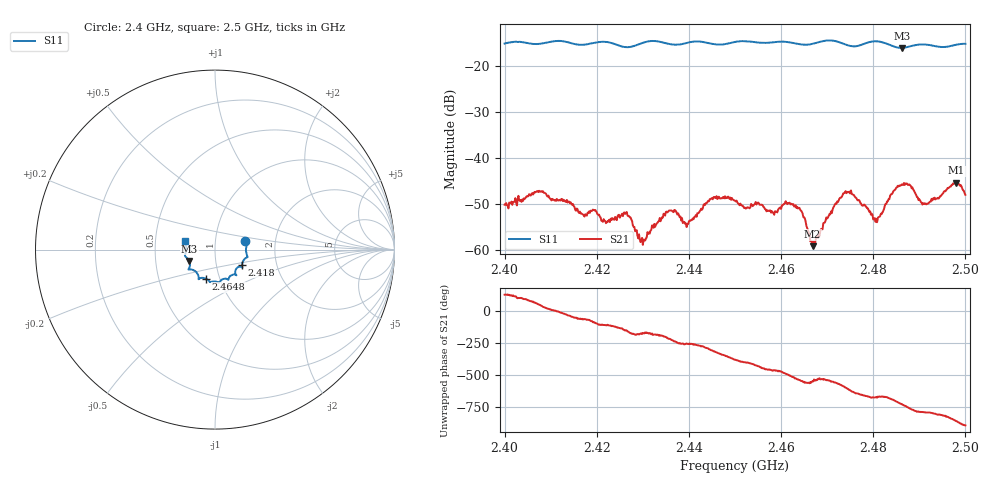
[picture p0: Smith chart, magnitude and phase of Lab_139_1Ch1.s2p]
# Hz S RI R 50
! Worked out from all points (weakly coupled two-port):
!   601 points, 2.4 GHz to 2.5 GHz, reference 50 ohm
!   highest |S21| = -45.40 dB at 2.498 GHz (marker M1); lowest = -59.2 dB at 2.4668 GHz (marker M2)
!   lowest |S11| = -16.1 dB at 2.4862 GHz (marker M3), VSWR 1.37, Z = 37.2 - j4.81 ohm
!   |S11| at or under -10 dB: start of sweep to end of sweep
!   S12 and S22 are empty: the file has one direction only
!   S11 on the Smith chart (normalised r, x): 2.4 GHz: 1.40, +0.13; 2.418 GHz: 1.33, -0.23; 2.4648 GHz: 0.86, -0.29; 2.5 GHz: 0.71, +0.07
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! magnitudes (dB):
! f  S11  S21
! 2.4 GHz  -15.2  -50.2
! 2.408 GHz  -15.2  -47.3
! 2.4167 GHz  -15.4  -52.1
! 2.418 GHz  -15.3  -52.0
! 2.4263 GHz  -15.9  -52.0
! 2.43 GHz  -15.0  -58.9
! 2.4333 GHz  -14.7  -53.9
! 2.4365 GHz  -15.4  -51.7
! 2.4397 GHz  -15.0  -54.5
! 2.445 GHz  -15.2  -48.8
! 2.45 GHz  -14.8  -49.3
! 2.4613 GHz  -14.8  -50.1
! 2.4648 GHz  -15.4  -52.9
! 2.4667 GHz  -15.3  -58.2
! 2.4668 GHz  -15.2  -59.2
! 2.4738 GHz  -15.3  -47.5
! 2.4805 GHz  -14.7  -53.9
! 2.4833 GHz  -15.3  -49.0
! 2.4862 GHz  -16.1  -45.8
! 2.4912 GHz  -15.4  -49.9
! 2.498 GHz  -15.4  -45.4
! 2.5 GHz  -15.2  -48.1
